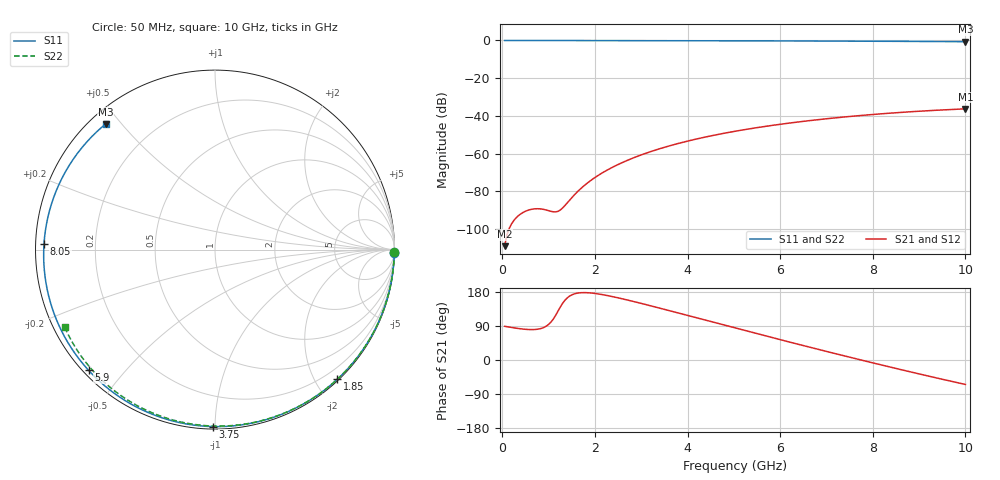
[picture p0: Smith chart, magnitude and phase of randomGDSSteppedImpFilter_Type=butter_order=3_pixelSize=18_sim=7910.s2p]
! freq	dB(S11)	phase(S11)	dB(S12)	phase(S12)
!  dB(S21)	phase(S21)	dB(S22)	phase(S22)
!S-par simulation data
#  GHz  S  DB  R 50
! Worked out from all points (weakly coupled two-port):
!   200 points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, 50 MHz to 10 GHz, reference 50 ohm
!   highest |S21| = -36.24 dB at 10 GHz (marker M1); lowest = -109.0 dB at 50 MHz (marker M2)
!   lowest |S11| = -0.6 dB at 10 GHz (marker M3), VSWR 26.77, Z = 2.26 + j22.8 ohm
!   |S11| at or under -10 dB: nowhere
!   |S22| runs from -0.5 to 0.0 dB; largest |S21 - S12| = 0
!   S11 on the Smith chart (normalised r, x): 50 MHz: 2, -92; 1.85 GHz: 0.02, -2.32; 3.75 GHz: 0.01, -0.99; 5.9 GHz: 0.02, -0.40; 8.05 GHz: 0.02, +0.02; 10 GHz: 0.05, +0.46
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0.05  -0.00 -1.2  -108.97 88.9  -108.97 88.9  -0.00 -0.9
0.45  -0.02 -11.5  -91.08 81.5  -91.08 81.5  -0.01 -7.9
0.8  -0.03 -20.5  -89.17 82.1  -89.17 82.1  -0.02 -14.1
1.6  -0.05 -40.5  -80.69 175.9  -80.69 175.9  -0.04 -28.0
1.65  -0.05 -41.7  -79.49 177.0  -79.49 177.0  -0.04 -28.8
1.75  -0.06 -44.2  -77.27 177.8  -77.27 177.8  -0.04 -30.5
1.85  -0.06 -46.6  -75.28 177.5  -75.28 177.5  -0.04 -32.2
2.15  -0.07 -53.9  -70.28 172.8  -70.28 172.8  -0.05 -37.3
2.5  -0.08 -62.2  -65.71 164.1  -65.71 164.1  -0.06 -43.2
2.9  -0.09 -71.5  -61.54 152.4  -61.54 152.4  -0.06 -49.8
3.4  -0.11 -82.9  -57.35 136.8  -57.35 136.8  -0.08 -57.9
3.75  -0.12 -90.7  -54.89 125.7  -54.89 125.7  -0.09 -63.5
4.4  -0.15 -104.9  -51.08 104.7  -51.08 104.7  -0.11 -73.7
5.05  -0.18 -118.7  -48.00 83.8  -48.00 83.8  -0.13 -83.5
5.9  -0.23 -136.4  -44.74 56.8  -44.74 56.8  -0.17 -96.0
6.7  -0.29 -153.0  -42.28 31.9  -42.28 31.9  -0.21 -107.4
7.4  -0.35 -167.7  -40.50 10.4  -40.50 10.4  -0.26 -117.2
8.05  -0.42 178.1  -39.11 -9.0  -39.11 -9.0  -0.31 -126.1
8.35  -0.45 171.4  -38.55 -17.9  -38.55 -17.9  -0.33 -130.2
8.8  -0.50 161.0  -37.80 -31.0  -37.80 -31.0  -0.38 -136.3
9.2  -0.55 151.4  -37.21 -42.4  -37.21 -42.4  -0.42 -141.8
10  -0.65 131.0  -36.24 -64.5  -36.24 -64.5  -0.52 -152.7
